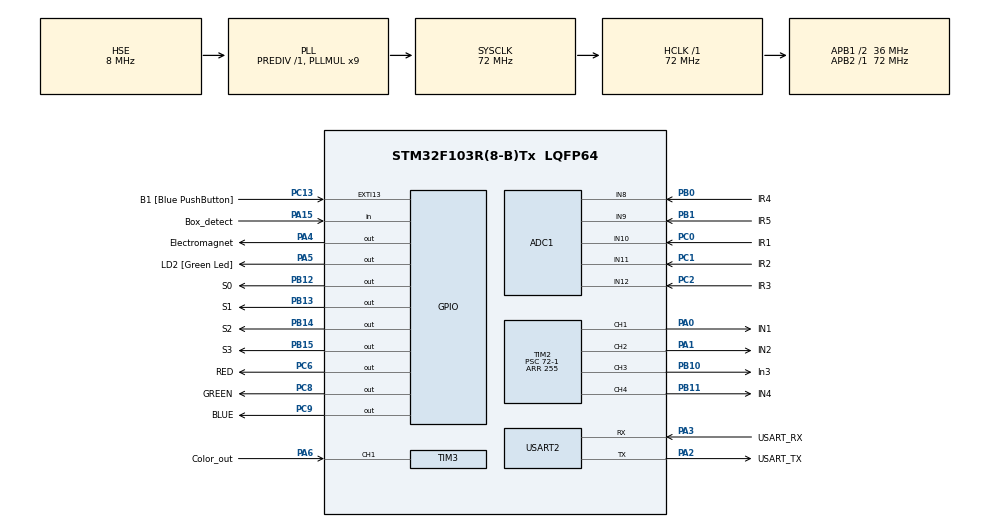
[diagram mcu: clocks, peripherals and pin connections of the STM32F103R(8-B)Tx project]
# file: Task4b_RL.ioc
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ADC1.Channel-0\#ChannelRegularConversion=ADC_CHANNEL_10
ADC1.Channel-1\#ChannelRegularConversion=ADC_CHANNEL_11
ADC1.Channel-2\#ChannelRegularConversion=ADC_CHANNEL_12
ADC1.Channel-3\#ChannelRegularConversion=ADC_CHANNEL_8
ADC1.Channel-4\#ChannelRegularConversion=ADC_CHANNEL_9
ADC1.ContinuousConvMode=ENABLE
ADC1.NbrOfConversion=5
ADC1.NbrOfConversionFlag=1
ADC1.Rank-0\#ChannelRegularConversion=1
ADC1.Rank-1\#ChannelRegularConversion=2
ADC1.Rank-2\#ChannelRegularConversion=3
ADC1.Rank-3\#ChannelRegularConversion=4
ADC1.Rank-4\#ChannelRegularConversion=5
ADC1.SamplingTime-0\#ChannelRegularConversion=ADC_SAMPLETIME_55CYCLES_5
ADC1.SamplingTime-1\#ChannelRegularConversion=ADC_SAMPLETIME_55CYCLES_5
ADC1.SamplingTime-2\#ChannelRegularConversion=ADC_SAMPLETIME_55CYCLES_5
ADC1.SamplingTime-3\#ChannelRegularConversion=ADC_SAMPLETIME_55CYCLES_5
ADC1.SamplingTime-4\#ChannelRegularConversion=ADC_SAMPLETIME_55CYCLES_5
ADC1.master=1
Dma.ADC1.0.Direction=DMA_PERIPH_TO_MEMORY
Dma.ADC1.0.Instance=DMA1_Channel1
Dma.ADC1.0.MemDataAlignment=DMA_MDATAALIGN_HALFWORD
Dma.ADC1.0.MemInc=DMA_MINC_ENABLE
Dma.ADC1.0.Mode=DMA_CIRCULAR
Dma.ADC1.0.PeriphDataAlignment=DMA_PDATAALIGN_HALFWORD
Dma.ADC1.0.PeriphInc=DMA_PINC_DISABLE
Dma.ADC1.0.Priority=DMA_PRIORITY_LOW
Dma.Request0=ADC1
Mcu.Family=STM32F1
Mcu.Name=STM32F103R(8-B)Tx
Mcu.Package=LQFP64
NVIC.ADC1_2_IRQn=true\:0\:0\:false\:false\:true\:true\:true\:true
NVIC.DMA1_Channel1_IRQn=true\:0\:0\:false\:false\:true\:false\:true\:true
NVIC.EXTI15_10_IRQn=true\:0\:0\:false\:false\:true\:true\:true\:true
NVIC.PriorityGroup=NVIC_PRIORITYGROUP_4
NVIC.TIM3_IRQn=true\:0\:0\:false\:false\:true\:true\:true\:true
PA0-WKUP.GPIO_Label=IN1
PA0-WKUP.Signal=S_TIM2_CH1_ETR
PA1.GPIO_Label=IN2
PA1.Signal=S_TIM2_CH2
PA13.GPIO_Label=TMS
PA13.Mode=Serial_Wire
PA13.Signal=SYS_JTMS-SWDIO
PA14.GPIO_Label=TCK
PA14.Mode=Serial_Wire
PA14.Signal=SYS_JTCK-SWCLK
PA15.GPIO_Label=Box_detect
PA15.Signal=GPIO_Input
PA2.GPIO_Label=USART_TX
PA2.GPIO_Mode=GPIO_MODE_AF_PP
PA2.GPIO_PuPd=GPIO_NOPULL
PA2.GPIO_Speed=GPIO_SPEED_FREQ_LOW
PA2.Mode=Asynchronous
PA2.Signal=USART2_TX
PA3.GPIO_Label=USART_RX
PA3.GPIO_Mode=GPIO_MODE_AF_PP
PA3.GPIO_PuPd=GPIO_NOPULL
PA3.GPIO_Speed=GPIO_SPEED_FREQ_LOW
PA3.Mode=Asynchronous
PA3.Signal=USART2_RX
PA4.GPIO_Label=Electromagnet
PA4.Signal=GPIO_Output
PA5.GPIO_Label=LD2 [Green Led]
PA5.GPIO_ModeDefaultOutputPP=GPIO_MODE_OUTPUT_PP
PA5.GPIO_PuPd=GPIO_NOPULL
PA5.GPIO_Speed=GPIO_SPEED_FREQ_LOW
PA5.Signal=GPIO_Output
PA6.GPIO_Label=Color_out
PA6.Signal=S_TIM3_CH1
PB0.GPIO_Label=IR4
PB0.Signal=ADCx_IN8
PB1.GPIO_Label=IR5
PB1.Signal=ADCx_IN9
PB10.GPIO_Label=In3
PB10.Signal=S_TIM2_CH3
PB11.GPIO_Label=IN4
PB11.Signal=S_TIM2_CH4
PB12.GPIO_Label=S0
PB12.Signal=GPIO_Output
PB13.GPIO_Label=S1
PB13.Signal=GPIO_Output
PB14.GPIO_Label=S2
PB14.Signal=GPIO_Output
PB15.GPIO_Label=S3
PB15.Signal=GPIO_Output
PB3.GPIO_Label=SWO
PB3.Signal=SYS_JTDO-TRACESWO
PC0.GPIO_Label=IR1
PC0.Signal=ADCx_IN10
PC1.GPIO_Label=IR2
PC1.Signal=ADCx_IN11
PC13-TAMPER-RTC.GPIO_Label=B1 [Blue PushButton]
PC13-TAMPER-RTC.GPIO_PuPd=GPIO_NOPULL
PC13-TAMPER-RTC.Signal=GPXTI13
PC14-OSC32_IN.Mode=LSE-External-Oscillator
PC14-OSC32_IN.Signal=RCC_OSC32_IN
PC15-OSC32_OUT.Mode=LSE-External-Oscillator
PC15-OSC32_OUT.Signal=RCC_OSC32_OUT
PC2.GPIO_Label=IR3
PC2.Signal=ADCx_IN12
PC6.GPIO_Label=RED
PC6.Signal=GPIO_Output
PC8.GPIO_Label=GREEN
PC8.Signal=GPIO_Output
PC9.GPIO_Label=BLUE
PC9.Signal=GPIO_Output
PD0-OSC_IN.Mode=HSE-External-Clock-Source
PD0-OSC_IN.Signal=RCC_OSC_IN
PD1-OSC_OUT.Mode=HSE-External-Clock-Source
PD1-OSC_OUT.Signal=RCC_OSC_OUT
ProjectManager.HeapSize=0x200
ProjectManager.StackSize=0x400
ProjectManager.TargetToolchain=STM32CubeIDE
RCC.ADCPresc=RCC_ADCPCLK2_DIV6
RCC.AHBFreq_Value=72000000
RCC.APB1CLKDivider=RCC_HCLK_DIV2
RCC.APB1Freq_Value=36000000
RCC.APB1TimFreq_Value=72000000
RCC.APB2Freq_Value=72000000
RCC.APB2TimFreq_Value=72000000
RCC.HCLKFreq_Value=72000000
RCC.PLLMUL=RCC_PLL_MUL9
RCC.PLLSourceVirtual=RCC_PLLSOURCE_HSE
RCC.RTCClockSelection=RCC_RTCCLKSOURCE_LSE
RCC.SYSCLKFreq_VALUE=72000000
RCC.SYSCLKSource=RCC_SYSCLKSOURCE_PLLCLK
RCC.USBFreq_Value=72000000
SH.ADCx_IN10.0=ADC1_IN10,IN10
SH.ADCx_IN11.0=ADC1_IN11,IN11
SH.ADCx_IN12.0=ADC1_IN12,IN12
SH.ADCx_IN8.0=ADC1_IN8,IN8
SH.ADCx_IN9.0=ADC1_IN9,IN9
SH.S_TIM2_CH1_ETR.0=TIM2_CH1,PWM Generation1 CH1
SH.S_TIM2_CH2.0=TIM2_CH2,PWM Generation2 CH2
SH.S_TIM2_CH3.0=TIM2_CH3,PWM Generation3 CH3
SH.S_TIM2_CH4.0=TIM2_CH4,PWM Generation4 CH4
SH.S_TIM3_CH1.0=TIM3_CH1,Input_Capture1_from_TI1
TIM2.Channel-PWM\ Generation1\ CH1=TIM_CHANNEL_1
TIM2.Channel-PWM\ Generation2\ CH2=TIM_CHANNEL_2
TIM2.Channel-PWM\ Generation3\ CH3=TIM_CHANNEL_3
TIM2.Channel-PWM\ Generation4\ CH4=TIM_CHANNEL_4
TIM2.Period=255
TIM2.Prescaler=72-1
TIM3.Channel-Input_Capture1_from_TI1=TIM_CHANNEL_1
USART2.VirtualMode=VM_ASYNC
board=NUCLEO-F103RB

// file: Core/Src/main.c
/* USER CODE BEGIN Header */
/**
  ******************************************************************************
  * @file           : main.c
  * @brief          : Main program body
  ******************************************************************************
  * @attention
  *
  * Copyright (c) 2025 STMicroelectronics.
  * All rights reserved.
  *
  * This software is licensed under terms that can be found in the LICENSE file
  * in the root directory of this software component.
  * If no LICENSE file comes with this software, it is provided AS-IS.
  *
  ******************************************************************************
  */
/* USER CODE END Header */
#include "main.h"
/* USER CODE BEGIN Includes */
#include "Q_table.h"
#include <stdint.h>
/* USER CODE END Includes */

ADC_HandleTypeDef hadc1;
DMA_HandleTypeDef hdma_adc1;

TIM_HandleTypeDef htim2;
TIM_HandleTypeDef htim3;

UART_HandleTypeDef huart2;

/* USER CODE BEGIN PV */

/* ADC buffer (5 sensors) */
volatile uint16_t adc_buf[5];

/* Threshold to decide black/white from ADC (adjustable) */
const uint16_t IR_THRESHOLD = 2000;

/* Max PWM (matches TIM2 period = 255) */
const uint16_t PWM_MAX = 255;

/* USER CODE END PV */

void SystemClock_Config(void);
static void MX_GPIO_Init(void);
static void MX_DMA_Init(void);
static void MX_USART2_UART_Init(void);
static void MX_ADC1_Init(void);
static void MX_TIM2_Init(void);
static void MX_TIM3_Init(void);

int main(void)
{

  /* MCU Configuration--------------------------------------------------------*/

  /* Reset of all peripherals, Initializes the Flash interface and the Systick. */
  HAL_Init();

  /* Configure the system clock */
  SystemClock_Config();

  /* Initialize all configured peripherals */
  MX_GPIO_Init();
  MX_DMA_Init();
  MX_USART2_UART_Init();
  MX_ADC1_Init();
  MX_TIM2_Init();
  MX_TIM3_Init();
  /* USER CODE BEGIN 2 */
  /* Start TIM2 PWM channels (motors) */
  HAL_TIM_PWM_Start(&htim2, TIM_CHANNEL_1);
  HAL_TIM_PWM_Start(&htim2, TIM_CHANNEL_2);
  HAL_TIM_PWM_Start(&htim2, TIM_CHANNEL_3);
  HAL_TIM_PWM_Start(&htim2, TIM_CHANNEL_4);

  /* Start ADC in DMA mode to continuously sample 5 IR sensors */
  HAL_ADC_Start_DMA(&hadc1, (uint32_t*)adc_buf, 5);

  /* USER CODE END 2 */
  /* USER CODE END 2 */

  /* Infinite loop */
  while (1)
  {

    /* USER CODE BEGIN 3 */
    /* RL-based line following loop */
    {
      /* build state from 5 IR sensors: IR1..IR5 -> bits 4..0 */
      uint8_t state = 0;
      state |= (adc_buf[0] > IR_THRESHOLD) ? (1 << 4) : 0; /* IR1 */
      state |= (adc_buf[1] > IR_THRESHOLD) ? (1 << 3) : 0; /* IR2 */
      state |= (adc_buf[2] > IR_THRESHOLD) ? (1 << 2) : 0; /* IR3 */
      state |= (adc_buf[3] > IR_THRESHOLD) ? (1 << 1) : 0; /* IR4 */
      state |= (adc_buf[4] > IR_THRESHOLD) ? (1 << 0) : 0; /* IR5 */

      /* choose greedy action from Q-table */
      int best_a = 0;
      float best_q = q_table[state][0];
      for (int a = 1; a < NUM_ACTIONS; ++a) {
        if (q_table[state][a] > best_q) {
          best_q = q_table[state][a];
          best_a = a;
        }
      }

      /* map actions to motor PWM commands (-255..255) */
      int16_t left = 0, right = 0;
      switch (best_a) {
        case 0: /* sharp left */
          left = -65; right = 65;
          break;
        case 1: /* left */
          left = 65; right = 65;
          break;
        case 2: /* forward */
          left = 65; right = 65;
          break;
        case 3: /* right */
          left = 65; right = 65;
          break;
        case 4: /* sharp right */
          left = 65; right = -65;
          break;
        default:
          left = 0; right = 0;
      }

      /* command motors */
      __HAL_TIM_SET_COMPARE(&htim2, TIM_CHANNEL_1, (left > 0) ? (uint16_t)left : 0);
      __HAL_TIM_SET_COMPARE(&htim2, TIM_CHANNEL_2, (left < 0) ? (uint16_t)(-left) : 0);
      __HAL_TIM_SET_COMPARE(&htim2, TIM_CHANNEL_3, (right > 0) ? (uint16_t)right : 0);
      __HAL_TIM_SET_COMPARE(&htim2, TIM_CHANNEL_4, (right < 0) ? (uint16_t)(-right) : 0);
    }

    HAL_Delay(50);
  }
  /* USER CODE END 3 */
}

void SystemClock_Config(void)
{
  RCC_OscInitTypeDef RCC_OscInitStruct = {0};
  RCC_ClkInitTypeDef RCC_ClkInitStruct = {0};
  RCC_PeriphCLKInitTypeDef PeriphClkInit = {0};

  /** Initializes the RCC Oscillators according to the specified parameters
  * in the RCC_OscInitTypeDef structure.
  */
  RCC_OscInitStruct.OscillatorType = RCC_OSCILLATORTYPE_HSE;
  RCC_OscInitStruct.HSEState = RCC_HSE_BYPASS;
  RCC_OscInitStruct.HSEPredivValue = RCC_HSE_PREDIV_DIV1;
  RCC_OscInitStruct.HSIState = RCC_HSI_ON;
  RCC_OscInitStruct.PLL.PLLState = RCC_PLL_ON;
  RCC_OscInitStruct.PLL.PLLSource = RCC_PLLSOURCE_HSE;
  RCC_OscInitStruct.PLL.PLLMUL = RCC_PLL_MUL9;
  if (HAL_RCC_OscConfig(&RCC_OscInitStruct) != HAL_OK)
  {
    Error_Handler();
  }

  /** Initializes the CPU, AHB and APB buses clocks
  */
  RCC_ClkInitStruct.ClockType = RCC_CLOCKTYPE_HCLK|RCC_CLOCKTYPE_SYSCLK
                              |RCC_CLOCKTYPE_PCLK1|RCC_CLOCKTYPE_PCLK2;
  RCC_ClkInitStruct.SYSCLKSource = RCC_SYSCLKSOURCE_PLLCLK;
  RCC_ClkInitStruct.AHBCLKDivider = RCC_SYSCLK_DIV1;
  RCC_ClkInitStruct.APB1CLKDivider = RCC_HCLK_DIV2;
  RCC_ClkInitStruct.APB2CLKDivider = RCC_HCLK_DIV1;

  if (HAL_RCC_ClockConfig(&RCC_ClkInitStruct, FLASH_LATENCY_2) != HAL_OK)
  {
    Error_Handler();
  }
  PeriphClkInit.PeriphClockSelection = RCC_PERIPHCLK_ADC;
  PeriphClkInit.AdcClockSelection = RCC_ADCPCLK2_DIV6;
  if (HAL_RCCEx_PeriphCLKConfig(&PeriphClkInit) != HAL_OK)
  {
    Error_Handler();
  }
}

static void MX_ADC1_Init(void)
{

  ADC_ChannelConfTypeDef sConfig = {0};

  /** Common config
  */
  hadc1.Instance = ADC1;
  hadc1.Init.ScanConvMode = ADC_SCAN_ENABLE;
  hadc1.Init.ContinuousConvMode = ENABLE;
  hadc1.Init.DiscontinuousConvMode = DISABLE;
  hadc1.Init.ExternalTrigConv = ADC_SOFTWARE_START;
  hadc1.Init.DataAlign = ADC_DATAALIGN_RIGHT;
  hadc1.Init.NbrOfConversion = 5;
  if (HAL_ADC_Init(&hadc1) != HAL_OK)
  {
    Error_Handler();
  }

  /** Configure Regular Channel
  */
  sConfig.Channel = ADC_CHANNEL_10;
  sConfig.Rank = ADC_REGULAR_RANK_1;
  sConfig.SamplingTime = ADC_SAMPLETIME_55CYCLES_5;
  if (HAL_ADC_ConfigChannel(&hadc1, &sConfig) != HAL_OK)
  {
    Error_Handler();
  }

  /** Configure Regular Channel
  */
  sConfig.Channel = ADC_CHANNEL_11;
  sConfig.Rank = ADC_REGULAR_RANK_2;
  if (HAL_ADC_ConfigChannel(&hadc1, &sConfig) != HAL_OK)
  {
    Error_Handler();
  }

  /** Configure Regular Channel
  */
  sConfig.Channel = ADC_CHANNEL_12;
  sConfig.Rank = ADC_REGULAR_RANK_3;
  if (HAL_ADC_ConfigChannel(&hadc1, &sConfig) != HAL_OK)
  {
    Error_Handler();
  }

  /** Configure Regular Channel
  */
  sConfig.Channel = ADC_CHANNEL_8;
  sConfig.Rank = ADC_REGULAR_RANK_4;
  if (HAL_ADC_ConfigChannel(&hadc1, &sConfig) != HAL_OK)
  {
    Error_Handler();
  }

  /** Configure Regular Channel
  */
  sConfig.Channel = ADC_CHANNEL_9;
  sConfig.Rank = ADC_REGULAR_RANK_5;
  if (HAL_ADC_ConfigChannel(&hadc1, &sConfig) != HAL_OK)
  {
    Error_Handler();
  }

}

static void MX_TIM2_Init(void)
{

  TIM_MasterConfigTypeDef sMasterConfig = {0};
  TIM_OC_InitTypeDef sConfigOC = {0};

  htim2.Instance = TIM2;
  htim2.Init.Prescaler = 72-1;
  htim2.Init.CounterMode = TIM_COUNTERMODE_UP;
  htim2.Init.Period = 255;
  htim2.Init.ClockDivision = TIM_CLOCKDIVISION_DIV1;
  htim2.Init.AutoReloadPreload = TIM_AUTORELOAD_PRELOAD_DISABLE;
  if (HAL_TIM_PWM_Init(&htim2) != HAL_OK)
  {
    Error_Handler();
  }
  sMasterConfig.MasterOutputTrigger = TIM_TRGO_RESET;
  sMasterConfig.MasterSlaveMode = TIM_MASTERSLAVEMODE_DISABLE;
  if (HAL_TIMEx_MasterConfigSynchronization(&htim2, &sMasterConfig) != HAL_OK)
  {
    Error_Handler();
  }
  sConfigOC.OCMode = TIM_OCMODE_PWM1;
  sConfigOC.Pulse = 0;
  sConfigOC.OCPolarity = TIM_OCPOLARITY_HIGH;
  sConfigOC.OCFastMode = TIM_OCFAST_DISABLE;
  if (HAL_TIM_PWM_ConfigChannel(&htim2, &sConfigOC, TIM_CHANNEL_1) != HAL_OK)
  {
    Error_Handler();
  }
  if (HAL_TIM_PWM_ConfigChannel(&htim2, &sConfigOC, TIM_CHANNEL_2) != HAL_OK)
  {
    Error_Handler();
  }
  if (HAL_TIM_PWM_ConfigChannel(&htim2, &sConfigOC, TIM_CHANNEL_3) != HAL_OK)
  {
    Error_Handler();
  }
  if (HAL_TIM_PWM_ConfigChannel(&htim2, &sConfigOC, TIM_CHANNEL_4) != HAL_OK)
  {
    Error_Handler();
  }
  HAL_TIM_MspPostInit(&htim2);

}

static void MX_TIM3_Init(void)
{

  TIM_MasterConfigTypeDef sMasterConfig = {0};
  TIM_IC_InitTypeDef sConfigIC = {0};

  htim3.Instance = TIM3;
  htim3.Init.Prescaler = 0;
  htim3.Init.CounterMode = TIM_COUNTERMODE_UP;
  htim3.Init.Period = 65535;
  htim3.Init.ClockDivision = TIM_CLOCKDIVISION_DIV1;
  htim3.Init.AutoReloadPreload = TIM_AUTORELOAD_PRELOAD_DISABLE;
  if (HAL_TIM_IC_Init(&htim3) != HAL_OK)
  {
    Error_Handler();
  }
  sMasterConfig.MasterOutputTrigger = TIM_TRGO_RESET;
  sMasterConfig.MasterSlaveMode = TIM_MASTERSLAVEMODE_DISABLE;
  if (HAL_TIMEx_MasterConfigSynchronization(&htim3, &sMasterConfig) != HAL_OK)
  {
    Error_Handler();
  }
  sConfigIC.ICPolarity = TIM_INPUTCHANNELPOLARITY_RISING;
  sConfigIC.ICSelection = TIM_ICSELECTION_DIRECTTI;
  sConfigIC.ICPrescaler = TIM_ICPSC_DIV1;
  sConfigIC.ICFilter = 0;
  if (HAL_TIM_IC_ConfigChannel(&htim3, &sConfigIC, TIM_CHANNEL_1) != HAL_OK)
  {
    Error_Handler();
  }

}

static void MX_USART2_UART_Init(void)
{

  huart2.Instance = USART2;
  huart2.Init.BaudRate = 115200;
  huart2.Init.WordLength = UART_WORDLENGTH_8B;
  huart2.Init.StopBits = UART_STOPBITS_1;
  huart2.Init.Parity = UART_PARITY_NONE;
  huart2.Init.Mode = UART_MODE_TX_RX;
  huart2.Init.HwFlowCtl = UART_HWCONTROL_NONE;
  huart2.Init.OverSampling = UART_OVERSAMPLING_16;
  if (HAL_UART_Init(&huart2) != HAL_OK)
  {
    Error_Handler();
  }

}

static void MX_DMA_Init(void)
{

  /* DMA controller clock enable */
  __HAL_RCC_DMA1_CLK_ENABLE();

  /* DMA interrupt init */
  /* DMA1_Channel1_IRQn interrupt configuration */
  HAL_NVIC_SetPriority(DMA1_Channel1_IRQn, 0, 0);
  HAL_NVIC_EnableIRQ(DMA1_Channel1_IRQn);

}

static void MX_GPIO_Init(void)
{
  GPIO_InitTypeDef GPIO_InitStruct = {0};

  /* GPIO Ports Clock Enable */
  __HAL_RCC_GPIOC_CLK_ENABLE();
  __HAL_RCC_GPIOD_CLK_ENABLE();
  __HAL_RCC_GPIOA_CLK_ENABLE();
  __HAL_RCC_GPIOB_CLK_ENABLE();

  /*Configure GPIO pin Output Level */
  HAL_GPIO_WritePin(GPIOA, Electromagnet_Pin|LD2_Pin, GPIO_PIN_RESET);

  /*Configure GPIO pin Output Level */
  HAL_GPIO_WritePin(GPIOB, S0_Pin|S1_Pin|S2_Pin|S3_Pin, GPIO_PIN_RESET);

  /*Configure GPIO pin Output Level */
  HAL_GPIO_WritePin(GPIOC, RED_Pin|GREEN_Pin|BLUE_Pin, GPIO_PIN_RESET);

  /*Configure GPIO pin : B1_Pin */
  GPIO_InitStruct.Pin = B1_Pin;
  GPIO_InitStruct.Mode = GPIO_MODE_IT_RISING;
  GPIO_InitStruct.Pull = GPIO_NOPULL;
  HAL_GPIO_Init(B1_GPIO_Port, &GPIO_InitStruct);

  /*Configure GPIO pins : Electromagnet_Pin LD2_Pin */
  GPIO_InitStruct.Pin = Electromagnet_Pin|LD2_Pin;
  GPIO_InitStruct.Mode = GPIO_MODE_OUTPUT_PP;
  GPIO_InitStruct.Pull = GPIO_NOPULL;
  GPIO_InitStruct.Speed = GPIO_SPEED_FREQ_LOW;
  HAL_GPIO_Init(GPIOA, &GPIO_InitStruct);

  /*Configure GPIO pins : S0_Pin S1_Pin S2_Pin S3_Pin */
  GPIO_InitStruct.Pin = S0_Pin|S1_Pin|S2_Pin|S3_Pin;
  GPIO_InitStruct.Mode = GPIO_MODE_OUTPUT_PP;
  GPIO_InitStruct.Pull = GPIO_NOPULL;
  GPIO_InitStruct.Speed = GPIO_SPEED_FREQ_LOW;
  HAL_GPIO_Init(GPIOB, &GPIO_InitStruct);

  /*Configure GPIO pins : RED_Pin GREEN_Pin BLUE_Pin */
  GPIO_InitStruct.Pin = RED_Pin|GREEN_Pin|BLUE_Pin;
  GPIO_InitStruct.Mode = GPIO_MODE_OUTPUT_PP;
  GPIO_InitStruct.Pull = GPIO_NOPULL;
  GPIO_InitStruct.Speed = GPIO_SPEED_FREQ_LOW;
  HAL_GPIO_Init(GPIOC, &GPIO_InitStruct);

  /*Configure GPIO pin : Box_detect_Pin */
  GPIO_InitStruct.Pin = Box_detect_Pin;
  GPIO_InitStruct.Mode = GPIO_MODE_INPUT;
  GPIO_InitStruct.Pull = GPIO_NOPULL;
  HAL_GPIO_Init(Box_detect_GPIO_Port, &GPIO_InitStruct);

  /* EXTI interrupt init*/
  HAL_NVIC_SetPriority(EXTI15_10_IRQn, 0, 0);
  HAL_NVIC_EnableIRQ(EXTI15_10_IRQn);

}

void Error_Handler(void)
{
  __disable_irq();
  while (1)
  {
  }
}
